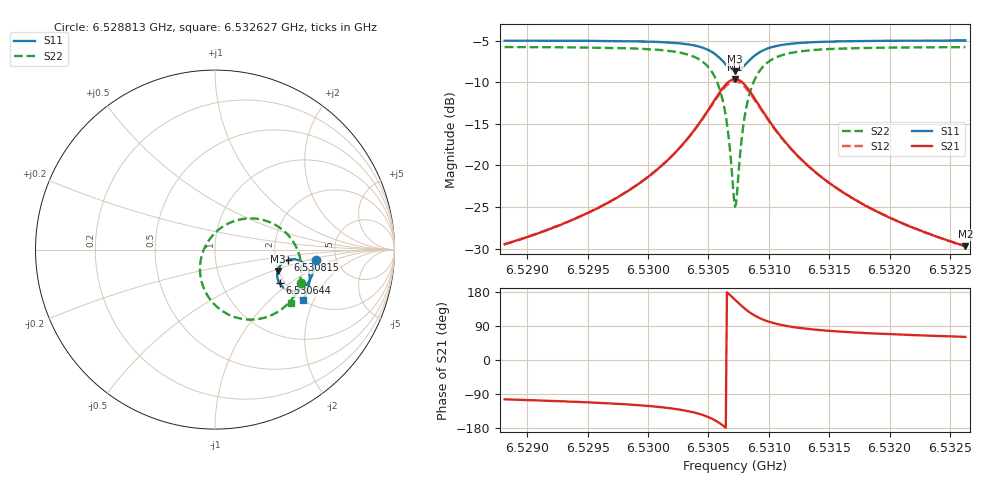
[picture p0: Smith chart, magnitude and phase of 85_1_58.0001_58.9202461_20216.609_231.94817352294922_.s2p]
#  HZ  S  RI  R  50.00
! Rohde & Schwarz Vector Network Analyzer
! Rohde-Schwarz,ZNB20-2Port,1311601062101988,3.16
! Created: UTC 3/21/2024, 12:54:03 AM
! freq[Hz]  re:S11  im:S11  re:S21  im:S21  re:S12  im:S12  re:S22  im:S22
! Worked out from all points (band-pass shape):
!   401 points, 6.528813 GHz to 6.532627 GHz, reference 50 ohm
!   highest |S21| = -9.60 dB at 6.53072 GHz (marker M1); lowest = -29.7 dB at 6.532627 GHz (marker M2)
!   |S21| within 3 dB of the highest: 6.53053 GHz to 6.530912 GHz (382 kHz wide, 0.00585 % of centre)
!   lowest |S11| = -8.7 dB at 6.53072 GHz (marker M3), VSWR 2.17, Z = 98.7 - j27.1 ohm
!   |S11| at or under -10 dB: nowhere
!   |S22| runs from -24.9 to -5.7 dB; largest |S21 - S12| = 0.014
!   S11 on the Smith chart (normalised r, x): 6.528813 GHz: 3.48, -0.57; 6.530644 GHz: 1.88, -0.84; 6.530815 GHz: 2.34, -0.33; 6.532627 GHz: 2.02, -1.66
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6.5288127e9  0.5607 -0.0562  -0.00789 -0.0326  -0.00871 -0.0325  0.4811 -0.1859
6.5294517e9  0.5513 -0.1109  -0.0179 -0.0465  -0.0192 -0.0461  0.4487 -0.2481
6.5298045e9  0.5406 -0.1452  -0.0308 -0.0608  -0.0324 -0.0601  0.415 -0.2922
6.5300906e9  0.5239 -0.1784  -0.0539 -0.0802  -0.0562 -0.0785  0.3627 -0.3384
6.5303195e9  0.4943 -0.2102  -0.0993 -0.1026  -0.1025 -0.099  0.2709 -0.3807
6.5304816e9  0.446 -0.2297  -0.1759 -0.1086  -0.1785 -0.1009  0.1303 -0.3815
6.5305769e9  0.3964 -0.221  -0.2534 -0.0758  -0.2519 -0.0645  0.0024 -0.3108
6.5306151e9  0.3741 -0.2057  -0.2866 -0.0422  -0.2817 -0.0306  -0.0468 -0.2476
6.5306437e9  0.3595 -0.1878  -0.3069 -0.0067  -0.2992 0.00441  -0.0734 -0.184
6.5306723e9  0.3494 -0.1642  -0.3186 0.0373  -0.3084 0.0463  -0.0838 -0.1091
6.5307009e9  0.3462 -0.1373  -0.3179 0.086  -0.3057 0.0923  -0.0726 -0.0293
6.53072e9  0.3493 -0.1188  -0.3091 0.1186  -0.2966 0.1224  -0.0522 0.0219
6.5307391e9  0.3561 -0.1014  -0.2944 0.1486  -0.2818 0.1503  -0.022 0.0682
6.5307772e9  0.3787 -0.0735  -0.2504 0.1959  -0.2398 0.1939  0.0588 0.1372
6.5308154e9  0.4075 -0.0579  -0.198 0.2216  -0.1903 0.2177  0.1497 0.1698
6.5308821e9  0.454 -0.0559  -0.1168 0.2248  -0.113 0.221  0.2863 0.1598
6.5309775e9  0.4954 -0.0776  -0.0464 0.1924  -0.0446 0.1902  0.4 0.0888
6.5311205e9  0.5202 -0.1144  -0.00353 0.1426  -0.00226 0.142  0.4636 -0.0123
6.5313589e9  0.528 -0.1587  0.0151 0.0937  0.0161 0.0932  0.4807 -0.1149
6.5316259e9  0.5243 -0.1929  0.0185 0.0655  0.0195 0.0652  0.4727 -0.1796
6.5319978e9  0.5136 -0.2294  0.0181 0.0452  0.0189 0.0449  0.4545 -0.2351
6.5326272e9  0.4913 -0.2791  0.0159 0.0286  0.0164 0.0283  0.4221 -0.2956
